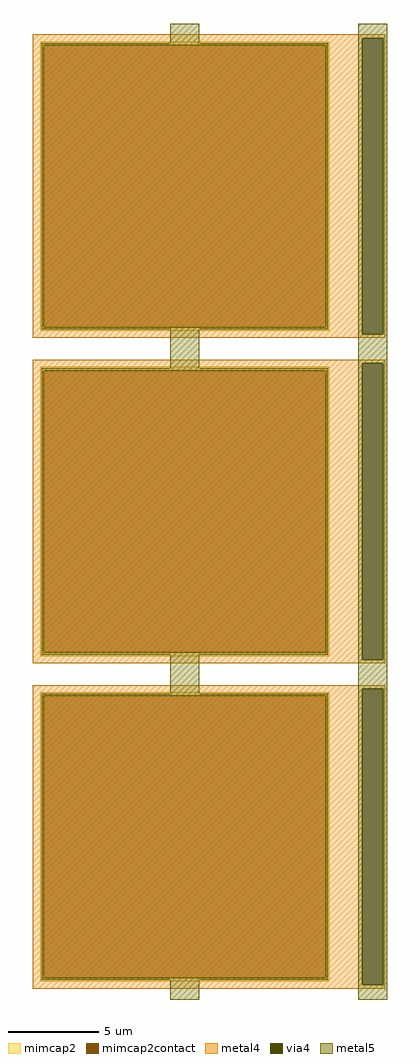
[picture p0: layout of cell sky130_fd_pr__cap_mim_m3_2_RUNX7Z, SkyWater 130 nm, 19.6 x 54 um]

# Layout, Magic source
magic
tech sky130A
magscale 1 2
<< metal4 >>
rect -1949 5239 1949 5280
rect -1949 1961 1693 5239
rect 1929 1961 1949 5239
rect -1949 1920 1949 1961
rect -1949 1639 1949 1680
rect -1949 -1639 1693 1639
rect 1929 -1639 1949 1639
rect -1949 -1680 1949 -1639
rect -1949 -1961 1949 -1920
rect -1949 -5239 1693 -1961
rect 1929 -5239 1949 -1961
rect -1949 -5280 1949 -5239
<< via4 >>
rect 1693 1961 1929 5239
rect 1693 -1639 1929 1639
rect 1693 -5239 1929 -1961
<< mimcap2 >>
rect -1869 5160 1331 5200
rect -1869 2040 -1829 5160
rect 1291 2040 1331 5160
rect -1869 2000 1331 2040
rect -1869 1560 1331 1600
rect -1869 -1560 -1829 1560
rect 1291 -1560 1331 1560
rect -1869 -1600 1331 -1560
rect -1869 -2040 1331 -2000
rect -1869 -5160 -1829 -2040
rect 1291 -5160 1331 -2040
rect -1869 -5200 1331 -5160
<< mimcap2contact >>
rect -1829 2040 1291 5160
rect -1829 -1560 1291 1560
rect -1829 -5160 1291 -2040
<< metal5 >>
rect -429 5184 -109 5400
rect 1651 5239 1971 5400
rect -1853 5160 1315 5184
rect -1853 2040 -1829 5160
rect 1291 2040 1315 5160
rect -1853 2016 1315 2040
rect -429 1584 -109 2016
rect 1651 1961 1693 5239
rect 1929 1961 1971 5239
rect 1651 1639 1971 1961
rect -1853 1560 1315 1584
rect -1853 -1560 -1829 1560
rect 1291 -1560 1315 1560
rect -1853 -1584 1315 -1560
rect -429 -2016 -109 -1584
rect 1651 -1639 1693 1639
rect 1929 -1639 1971 1639
rect 1651 -1961 1971 -1639
rect -1853 -2040 1315 -2016
rect -1853 -5160 -1829 -2040
rect 1291 -5160 1315 -2040
rect -1853 -5184 1315 -5160
rect -429 -5400 -109 -5184
rect 1651 -5239 1693 -1961
rect 1929 -5239 1971 -1961
rect 1651 -5400 1971 -5239
<< properties >>
string FIXED_BBOX -1949 1920 1411 5280
string gencell sky130_fd_pr__cap_mim_m3_2
string library sky130
string parameters w 16.0 l 16.0 val 524.159 carea 2.00 cperi 0.19 nx 1 ny 3 dummy 0 square 0 lmin 2.00 wmin 2.00 lmax 30.0 wmax 30.0 dc 0 bconnect 1 tconnect 1 ccov 100
<< end >>
